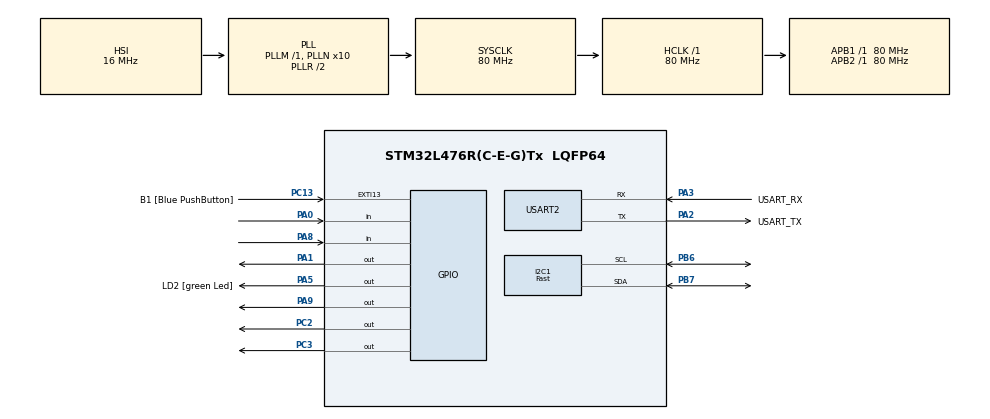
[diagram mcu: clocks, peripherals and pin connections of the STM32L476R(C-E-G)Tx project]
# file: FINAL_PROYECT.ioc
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I2C1.I2C_Speed_Mode=I2C_Fast
I2C1.Timing=0x00702991
Mcu.Family=STM32L4
Mcu.Name=STM32L476R(C-E-G)Tx
Mcu.Package=LQFP64
NVIC.PriorityGroup=NVIC_PRIORITYGROUP_4
PA0.Signal=GPIO_Input
PA1.Signal=GPIO_Output
PA13\ (JTMS-SWDIO).GPIO_Label=TMS
PA13\ (JTMS-SWDIO).Mode=Serial_Wire
PA13\ (JTMS-SWDIO).Signal=SYS_JTMS-SWDIO
PA14\ (JTCK-SWCLK).GPIO_Label=TCK
PA14\ (JTCK-SWCLK).Mode=Serial_Wire
PA14\ (JTCK-SWCLK).Signal=SYS_JTCK-SWCLK
PA2.GPIO_Label=USART_TX
PA2.GPIO_Mode=GPIO_MODE_AF_PP
PA2.GPIO_PuPd=GPIO_NOPULL
PA2.GPIO_Speed=GPIO_SPEED_FREQ_VERY_HIGH
PA2.Mode=Asynchronous
PA2.Signal=USART2_TX
PA3.GPIO_Label=USART_RX
PA3.GPIO_Mode=GPIO_MODE_AF_PP
PA3.GPIO_PuPd=GPIO_NOPULL
PA3.GPIO_Speed=GPIO_SPEED_FREQ_VERY_HIGH
PA3.Mode=Asynchronous
PA3.Signal=USART2_RX
PA5.GPIO_Label=LD2 [green Led]
PA5.GPIO_ModeDefaultOutputPP=GPIO_MODE_OUTPUT_PP
PA5.GPIO_PuPd=GPIO_NOPULL
PA5.GPIO_Speed=GPIO_SPEED_FREQ_LOW
PA5.Signal=GPIO_Output
PA8.Signal=GPIO_Input
PA9.Signal=GPIO_Output
PB3\ (JTDO-TRACESWO).GPIO_Label=SWO
PB3\ (JTDO-TRACESWO).Signal=SYS_JTDO-SWO
PB6.Mode=I2C
PB6.Signal=I2C1_SCL
PB7.Mode=I2C
PB7.Signal=I2C1_SDA
PC13.GPIO_Label=B1 [Blue PushButton]
PC13.GPIO_ModeDefaultEXTI=GPIO_MODE_IT_FALLING
PC13.GPIO_PuPd=GPIO_NOPULL
PC13.Signal=GPXTI13
PC14-OSC32_IN\ (PC14).Signal=RCC_OSC32_IN
PC15-OSC32_OUT\ (PC15).Signal=RCC_OSC32_OUT
PC2.Signal=GPIO_Output
PC3.Signal=GPIO_Output
PH0-OSC_IN\ (PH0).Mode=HSE-External-Oscillator
PH0-OSC_IN\ (PH0).Signal=RCC_OSC_IN
PH1-OSC_OUT\ (PH1).Mode=HSE-External-Oscillator
PH1-OSC_OUT\ (PH1).Signal=RCC_OSC_OUT
ProjectManager.HeapSize=0x200
ProjectManager.StackSize=0x400
ProjectManager.TargetToolchain=STM32CubeIDE
RCC.ADCFreq_Value=64000000
RCC.AHBFreq_Value=80000000
RCC.APB1Freq_Value=80000000
RCC.APB1TimFreq_Value=80000000
RCC.APB2Freq_Value=80000000
RCC.APB2TimFreq_Value=80000000
RCC.CortexFreq_Value=80000000
RCC.HCLKFreq_Value=80000000
RCC.HSE_VALUE=8000000
RCC.HSI_VALUE=16000000
RCC.MSI_VALUE=4000000
RCC.PLLN=10
RCC.PLLSourceVirtual=RCC_PLLSOURCE_HSI
RCC.PREFETCH_ENABLE=1
RCC.SYSCLKFreq_VALUE=80000000
RCC.SYSCLKSource=RCC_SYSCLKSOURCE_PLLCLK
RCC.USBFreq_Value=64000000
RCC.VCOOutputFreq_Value=160000000
TIM1.Prescaler=79
USART2.VirtualMode-Asynchronous=VM_ASYNC
VP_TIM1_VS_ClockSourceINT.Mode=Internal
board=NUCLEO-L476RG

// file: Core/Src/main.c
/* USER CODE BEGIN Header */
/**
  ******************************************************************************
  * @file           : main.c
  * @brief          : Main program body
  ******************************************************************************
  * @attention
  *
  * Copyright (c) 2022 STMicroelectronics.
  * All rights reserved.
  *
  * This software is licensed under terms that can be found in the LICENSE file
  * in the root directory of this software component.
  * If no LICENSE file comes with this software, it is provided AS-IS.
  *
  ******************************************************************************
  */
/* USER CODE END Header */
#include "main.h"

/* USER CODE BEGIN Includes */
#include "fonts.h"
#include "ssd1306.h"
#include "stdio.h"
/* USER CODE END Includes */

I2C_HandleTypeDef hi2c1;

TIM_HandleTypeDef htim1;

UART_HandleTypeDef huart2;

/* USER CODE BEGIN PV */
#define BUZ_PIN GPIO_PIN_3
#define BUZ_PORT GPIOC
#define TRIG_PIN GPIO_PIN_9
#define TRIG_PORT GPIOA
#define ECHO_PIN GPIO_PIN_8
#define ECHO_PORT GPIOA
#define DHT11_PORT GPIOA
#define DHT11_PIN GPIO_PIN_1
uint32_t pMillis;
uint32_t Value1 = 0;
uint32_t Value2 = 0;
uint16_t Distance  = 0;  // cm
char strCopy[15];
uint8_t RHS, RHN, TCI, TCD, SUM;
uint32_t pMillis, cMillis;
float tCelsius = 0;
float tFahrenheit = 0;
float RH = 0;
uint8_t TFI = 0;
uint8_t TFD = 0;
/* USER CODE END PV */

void SystemClock_Config(void);
static void MX_GPIO_Init(void);
static void MX_USART2_UART_Init(void);
static void MX_I2C1_Init(void);
static void MX_TIM1_Init(void);

/* USER CODE BEGIN 0 */

void microDelay (uint16_t delay)
{
  __HAL_TIM_SET_COUNTER(&htim1, 0);
  while (__HAL_TIM_GET_COUNTER(&htim1) < delay);
}

uint8_t DHT11_Start (void)
{
  uint8_t Response = 0;
  GPIO_InitTypeDef GPIO_InitStructPrivate = {0};
  GPIO_InitStructPrivate.Pin = DHT11_PIN;
  GPIO_InitStructPrivate.Mode = GPIO_MODE_OUTPUT_PP;
  GPIO_InitStructPrivate.Speed = GPIO_SPEED_FREQ_LOW;
  GPIO_InitStructPrivate.Pull = GPIO_NOPULL;
  HAL_GPIO_Init(DHT11_PORT, &GPIO_InitStructPrivate); // set the pin as output
  HAL_GPIO_WritePin (DHT11_PORT, DHT11_PIN, 0);   // pull the pin low
  HAL_Delay(20);   // wait for 20ms
  HAL_GPIO_WritePin (DHT11_PORT, DHT11_PIN, 1);   // pull the pin high
  microDelay (30);   // wait for 30us
  GPIO_InitStructPrivate.Mode = GPIO_MODE_INPUT;
  GPIO_InitStructPrivate.Pull = GPIO_PULLUP;
  HAL_GPIO_Init(DHT11_PORT, &GPIO_InitStructPrivate); // set the pin as input
  microDelay (40);
  if (!(HAL_GPIO_ReadPin (DHT11_PORT, DHT11_PIN)))
  {
    microDelay (80);
    if ((HAL_GPIO_ReadPin (DHT11_PORT, DHT11_PIN))) Response = 1;
  }
  pMillis = HAL_GetTick();
  cMillis = HAL_GetTick();
  while ((HAL_GPIO_ReadPin (DHT11_PORT, DHT11_PIN)) && pMillis + 2 > cMillis)
  {
    cMillis = HAL_GetTick();
  }
  return Response;
}

uint8_t DHT11_Read (void)
{
  uint8_t a,b;
  for (a=0;a<8;a++)
  {
    pMillis = HAL_GetTick();
    cMillis = HAL_GetTick();
    while (!(HAL_GPIO_ReadPin (DHT11_PORT, DHT11_PIN)) && pMillis + 2 > cMillis)
    {  // wait for the pin to go high
      cMillis = HAL_GetTick();
    }
    microDelay (40);   // wait for 40 us
    if (!(HAL_GPIO_ReadPin (DHT11_PORT, DHT11_PIN)))   // if the pin is low
      b&= ~(1<<(7-a));
    else
      b|= (1<<(7-a));
    pMillis = HAL_GetTick();
    cMillis = HAL_GetTick();
    while ((HAL_GPIO_ReadPin (DHT11_PORT, DHT11_PIN)) && pMillis + 2 > cMillis)
    {  // wait for the pin to go low
      cMillis = HAL_GetTick();
    }
  }
  return b;
}
/* USER CODE END 0 */

int main(void)
{

  /* MCU Configuration--------------------------------------------------------*/

  /* Reset of all peripherals, Initializes the Flash interface and the Systick. */
  HAL_Init();

  /* Configure the system clock */
  SystemClock_Config();

  /* Initialize all configured peripherals */
  MX_GPIO_Init();
  MX_USART2_UART_Init();
  MX_I2C1_Init();
  MX_TIM1_Init();

  /* USER CODE BEGIN 2 */
  HAL_TIM_Base_Start(&htim1);
  HAL_GPIO_WritePin(TRIG_PORT, TRIG_PIN, GPIO_PIN_RESET);  // pull the TRIG pin low
  SSD1306_Init();
  SSD1306_GotoXY (26, 26);
  SSD1306_Puts("Welcome", &Font_11x18, 1);
  SSD1306_UpdateScreen();

  HAL_Delay(3000);
  SSD1306_Clear();

  SSD1306_GotoXY (0, 0);
  SSD1306_Puts ("Temperature:", &Font_11x18, 1);
  SSD1306_GotoXY (0,33);
  SSD1306_Puts ("Distance:", &Font_11x18, 1);
  SSD1306_UpdateScreen();
  uint32_t current_tick;
  uint32_t last_tick=0;
  uint32_t current_tick2;
  uint32_t last_tick2=0;
  /* USER CODE END 2 */

  /* Infinite loop */
  /* USER CODE BEGIN WHILE */
  while (1)
  {
	  current_tick=HAL_GetTick();
	     if(DHT11_Start())
	  	 {
	  	  //if(DHT11_Start())
	  	  if(current_tick-last_tick>=1000)
	  	  {
	  		  last_tick = current_tick;
	  		  RHS = DHT11_Read(); // Relative humidity integral
	  		  RHN= DHT11_Read(); // Relative humidity decimal
	  		  TCI = DHT11_Read(); // Celsius integral
	  		  TCD = DHT11_Read(); // Celsius decimal
	  		  SUM = DHT11_Read(); // Check sum
	  		  if (RHS + RHN + TCI + TCD == SUM)
	  		  {
	  			  // Can use RHI and TCI for any purposes if whole number only needed
	  			  tCelsius = (float)TCI + (float)(TCD/10.0);
	  			  tFahrenheit = tCelsius * 9/5 + 32;
	  			  RH = (float)RHS + (float)(RHN/10.0);
	  			  // Can use tCelsius, tFahrenheit and RH for any purposes
	  			  TFI = tFahrenheit;  // Fahrenheit integral
	  			  TFD = tFahrenheit*10-TFI*10; // Fahrenheit decimal
	  			  SSD1306_GotoXY (0, 20);
	  			  sprintf(strCopy,"%d.%d C|%d.%d F", TCI, TCD, TFI, TFD);
	  			  SSD1306_Puts (strCopy, &Font_7x10, 1);
	  		  }
	  	  }
	  	 }

	  	 //////////////////////////////Ultrasonic
	  		 current_tick2=HAL_GetTick();
	  		 if(current_tick2-last_tick2>=100)
	  		 {
	  			  current_tick2 = last_tick2;
	  		      HAL_GPIO_WritePin(TRIG_PORT, TRIG_PIN, GPIO_PIN_SET);  // pull the TRIG pin HIGH
	  		      __HAL_TIM_SET_COUNTER(&htim1, 0);
	  		      while (__HAL_TIM_GET_COUNTER (&htim1) < 10);  // wait for 10 us
	  		      HAL_GPIO_WritePin(TRIG_PORT, TRIG_PIN, GPIO_PIN_RESET);  // pull the TRIG pin low

	  		      pMillis = HAL_GetTick(); // used this to avoid infinite while loop  (for timeout)
	  		      // wait for the echo pin to go high
	  		      while (!(HAL_GPIO_ReadPin (ECHO_PORT, ECHO_PIN)) && pMillis + 10 >  HAL_GetTick());
	  		      Value1 = __HAL_TIM_GET_COUNTER (&htim1);

	  		      cMillis = HAL_GetTick(); // used this to avoid infinite while loop (for timeout)
	  		      // wait for the echo pin to go low
	  		      while ((HAL_GPIO_ReadPin (ECHO_PORT, ECHO_PIN)) && cMillis + 50 > HAL_GetTick());
	  		      Value2 = __HAL_TIM_GET_COUNTER (&htim1);

	  		      Distance = (Value2-Value1)* 0.034/2;

	  		      SSD1306_GotoXY (0,51);
	  		      SSD1306_Puts ("   cm", &Font_7x10, 1);
	  		      SSD1306_GotoXY (0, 51);
	  		      sprintf(strCopy,"%d", Distance);
	  		      SSD1306_Puts (strCopy, &Font_7x10, 1);
	  		      SSD1306_UpdateScreen();

	  		 }
	  		 if(Distance<=45/*cm*/ && TCI>=20/*°C*/)
	  		 {
	  			 HAL_GPIO_WritePin(BUZ_PORT, BUZ_PIN, GPIO_PIN_SET);
	  		 }
	  		 else
	  		 {
	  			 if(Distance>45)
	  			 {
	  		  		HAL_GPIO_WritePin(BUZ_PORT, BUZ_PIN, GPIO_PIN_RESET);
	  			 }
	  		 }
    /* USER CODE END WHILE */

  }
}

void SystemClock_Config(void)
{
  RCC_OscInitTypeDef RCC_OscInitStruct = {0};
  RCC_ClkInitTypeDef RCC_ClkInitStruct = {0};

  /** Configure the main internal regulator output voltage
  */
  if (HAL_PWREx_ControlVoltageScaling(PWR_REGULATOR_VOLTAGE_SCALE1) != HAL_OK)
  {
    Error_Handler();
  }

  /** Initializes the RCC Oscillators according to the specified parameters
  * in the RCC_OscInitTypeDef structure.
  */
  RCC_OscInitStruct.OscillatorType = RCC_OSCILLATORTYPE_HSI;
  RCC_OscInitStruct.HSIState = RCC_HSI_ON;
  RCC_OscInitStruct.HSICalibrationValue = RCC_HSICALIBRATION_DEFAULT;
  RCC_OscInitStruct.PLL.PLLState = RCC_PLL_ON;
  RCC_OscInitStruct.PLL.PLLSource = RCC_PLLSOURCE_HSI;
  RCC_OscInitStruct.PLL.PLLM = 1;
  RCC_OscInitStruct.PLL.PLLN = 10;
  RCC_OscInitStruct.PLL.PLLP = RCC_PLLP_DIV7;
  RCC_OscInitStruct.PLL.PLLQ = RCC_PLLQ_DIV2;
  RCC_OscInitStruct.PLL.PLLR = RCC_PLLR_DIV2;
  if (HAL_RCC_OscConfig(&RCC_OscInitStruct) != HAL_OK)
  {
    Error_Handler();
  }

  /** Initializes the CPU, AHB and APB buses clocks
  */
  RCC_ClkInitStruct.ClockType = RCC_CLOCKTYPE_HCLK|RCC_CLOCKTYPE_SYSCLK
                              |RCC_CLOCKTYPE_PCLK1|RCC_CLOCKTYPE_PCLK2;
  RCC_ClkInitStruct.SYSCLKSource = RCC_SYSCLKSOURCE_PLLCLK;
  RCC_ClkInitStruct.AHBCLKDivider = RCC_SYSCLK_DIV1;
  RCC_ClkInitStruct.APB1CLKDivider = RCC_HCLK_DIV1;
  RCC_ClkInitStruct.APB2CLKDivider = RCC_HCLK_DIV1;

  if (HAL_RCC_ClockConfig(&RCC_ClkInitStruct, FLASH_LATENCY_4) != HAL_OK)
  {
    Error_Handler();
  }
}

static void MX_I2C1_Init(void)
{

  hi2c1.Instance = I2C1;
  hi2c1.Init.Timing = 0x00702991;
  hi2c1.Init.OwnAddress1 = 0;
  hi2c1.Init.AddressingMode = I2C_ADDRESSINGMODE_7BIT;
  hi2c1.Init.DualAddressMode = I2C_DUALADDRESS_DISABLE;
  hi2c1.Init.OwnAddress2 = 0;
  hi2c1.Init.OwnAddress2Masks = I2C_OA2_NOMASK;
  hi2c1.Init.GeneralCallMode = I2C_GENERALCALL_DISABLE;
  hi2c1.Init.NoStretchMode = I2C_NOSTRETCH_DISABLE;
  if (HAL_I2C_Init(&hi2c1) != HAL_OK)
  {
    Error_Handler();
  }

  /** Configure Analogue filter
  */
  if (HAL_I2CEx_ConfigAnalogFilter(&hi2c1, I2C_ANALOGFILTER_ENABLE) != HAL_OK)
  {
    Error_Handler();
  }

  /** Configure Digital filter
  */
  if (HAL_I2CEx_ConfigDigitalFilter(&hi2c1, 0) != HAL_OK)
  {
    Error_Handler();
  }

}

static void MX_TIM1_Init(void)
{

  TIM_ClockConfigTypeDef sClockSourceConfig = {0};
  TIM_MasterConfigTypeDef sMasterConfig = {0};

  htim1.Instance = TIM1;
  htim1.Init.Prescaler = 79;
  htim1.Init.CounterMode = TIM_COUNTERMODE_UP;
  htim1.Init.Period = 65535;
  htim1.Init.ClockDivision = TIM_CLOCKDIVISION_DIV1;
  htim1.Init.RepetitionCounter = 0;
  htim1.Init.AutoReloadPreload = TIM_AUTORELOAD_PRELOAD_DISABLE;
  if (HAL_TIM_Base_Init(&htim1) != HAL_OK)
  {
    Error_Handler();
  }
  sClockSourceConfig.ClockSource = TIM_CLOCKSOURCE_INTERNAL;
  if (HAL_TIM_ConfigClockSource(&htim1, &sClockSourceConfig) != HAL_OK)
  {
    Error_Handler();
  }
  sMasterConfig.MasterOutputTrigger = TIM_TRGO_RESET;
  sMasterConfig.MasterOutputTrigger2 = TIM_TRGO2_RESET;
  sMasterConfig.MasterSlaveMode = TIM_MASTERSLAVEMODE_DISABLE;
  if (HAL_TIMEx_MasterConfigSynchronization(&htim1, &sMasterConfig) != HAL_OK)
  {
    Error_Handler();
  }

}

static void MX_USART2_UART_Init(void)
{

  huart2.Instance = USART2;
  huart2.Init.BaudRate = 115200;
  huart2.Init.WordLength = UART_WORDLENGTH_8B;
  huart2.Init.StopBits = UART_STOPBITS_1;
  huart2.Init.Parity = UART_PARITY_NONE;
  huart2.Init.Mode = UART_MODE_TX_RX;
  huart2.Init.HwFlowCtl = UART_HWCONTROL_NONE;
  huart2.Init.OverSampling = UART_OVERSAMPLING_16;
  huart2.Init.OneBitSampling = UART_ONE_BIT_SAMPLE_DISABLE;
  huart2.AdvancedInit.AdvFeatureInit = UART_ADVFEATURE_NO_INIT;
  if (HAL_UART_Init(&huart2) != HAL_OK)
  {
    Error_Handler();
  }

}

static void MX_GPIO_Init(void)
{
  GPIO_InitTypeDef GPIO_InitStruct = {0};

  /* GPIO Ports Clock Enable */
  __HAL_RCC_GPIOC_CLK_ENABLE();
  __HAL_RCC_GPIOH_CLK_ENABLE();
  __HAL_RCC_GPIOA_CLK_ENABLE();
  __HAL_RCC_GPIOB_CLK_ENABLE();

  /*Configure GPIO pin Output Level */
  HAL_GPIO_WritePin(GPIOC, GPIO_PIN_2|GPIO_PIN_3, GPIO_PIN_RESET);

  /*Configure GPIO pin Output Level */
  HAL_GPIO_WritePin(GPIOA, GPIO_PIN_1|LD2_Pin|GPIO_PIN_9, GPIO_PIN_RESET);

  /*Configure GPIO pin : B1_Pin */
  GPIO_InitStruct.Pin = B1_Pin;
  GPIO_InitStruct.Mode = GPIO_MODE_IT_FALLING;
  GPIO_InitStruct.Pull = GPIO_NOPULL;
  HAL_GPIO_Init(B1_GPIO_Port, &GPIO_InitStruct);

  /*Configure GPIO pins : PC2 PC3 */
  GPIO_InitStruct.Pin = GPIO_PIN_2|GPIO_PIN_3;
  GPIO_InitStruct.Mode = GPIO_MODE_OUTPUT_PP;
  GPIO_InitStruct.Pull = GPIO_NOPULL;
  GPIO_InitStruct.Speed = GPIO_SPEED_FREQ_LOW;
  HAL_GPIO_Init(GPIOC, &GPIO_InitStruct);

  /*Configure GPIO pins : PA0 PA8 */
  GPIO_InitStruct.Pin = GPIO_PIN_0|GPIO_PIN_8;
  GPIO_InitStruct.Mode = GPIO_MODE_INPUT;
  GPIO_InitStruct.Pull = GPIO_NOPULL;
  HAL_GPIO_Init(GPIOA, &GPIO_InitStruct);

  /*Configure GPIO pins : PA1 LD2_Pin PA9 */
  GPIO_InitStruct.Pin = GPIO_PIN_1|LD2_Pin|GPIO_PIN_9;
  GPIO_InitStruct.Mode = GPIO_MODE_OUTPUT_PP;
  GPIO_InitStruct.Pull = GPIO_NOPULL;
  GPIO_InitStruct.Speed = GPIO_SPEED_FREQ_LOW;
  HAL_GPIO_Init(GPIOA, &GPIO_InitStruct);

}

void Error_Handler(void)
{
  __disable_irq();
  while (1)
  {
  }
}
